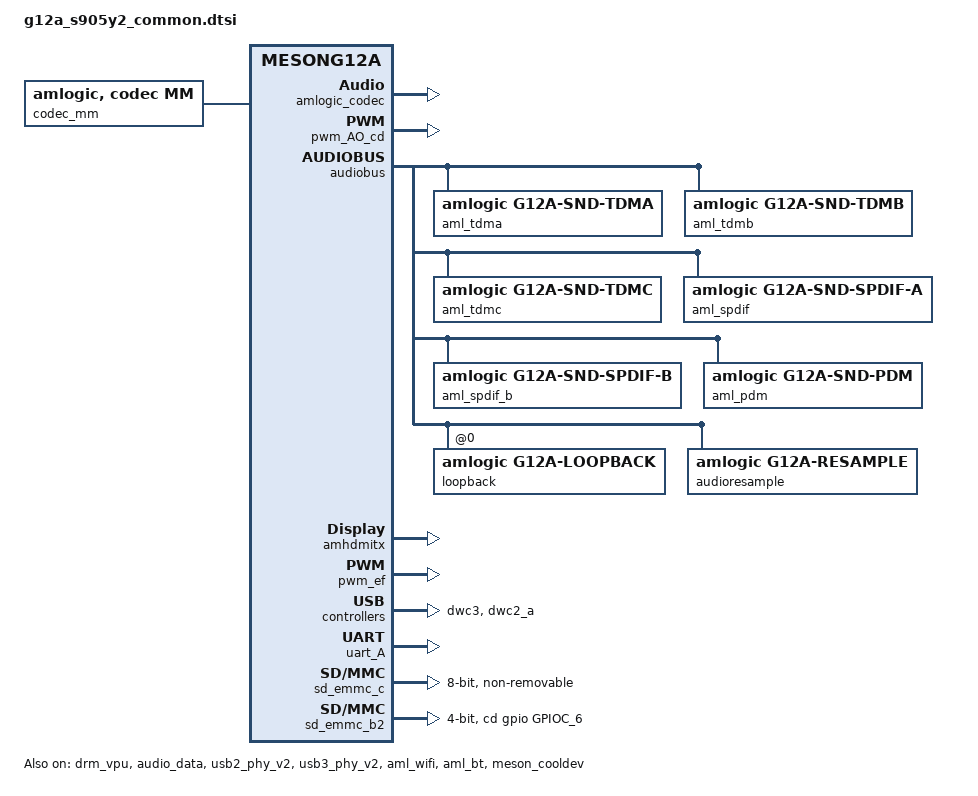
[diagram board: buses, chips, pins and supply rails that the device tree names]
// SPDX-License-Identifier: (GPL-2.0+ OR MIT)
/*
 * Amlogic S905Y2 (G12A) - common board description.
 *
 * Ported from the 4.9 kernel board file g12a_s905y2_deadpool.dts. It can't be
 * used verbatim here: the 5.15 common_drivers BSP replaced the display stack
 * (meson_fb -> DRM), the MMC bindings (amlogic,meson-mmc-g12a with sd/sdio/emmc
 * sub-nodes -> amlogic,meson-g12a-mmc with standard mmc properties), the audio
 * card compatible and the tdm pinmux group names. The 5.15 layout below follows
 * Amlogic's own G12A reference board, g12a_s905x2_u212.dts, with the ADT-3
 * specifics carried over from 4.9.
 */

#include "mesong12a.dtsi"
#include "mesong12a_drm.dtsi"
/*
 * Same non-A/B partition layout the 4.9 board file used. Byte-for-byte
 * identical to the 4.9 copy of this file, so the on-eMMC MPT written by the
 * stock u-boot keeps matching.
 */
#include "partition_mbox_dynamic_deadpool.dtsi"

/ {
	amlogic-dt-id = "g12a_s905y2_deadpool";
	compatible = "amlogic, g12a";
	interrupt-parent = <&gic>;
	#address-cells = <2>;
	#size-cells = <2>;

	aliases {
		serial0 = &uart_AO;
		serial1 = &uart_A;
		serial2 = &uart_B;
		serial3 = &uart_C;
		serial4 = &uart_AO_B;
		tsensor0 = &p_tsensor;
		tsensor1 = &d_tsensor;
		i2c0 = &i2c0;
		i2c1 = &i2c1;
		i2c2 = &i2c2;
		i2c3 = &i2c3;
		i2c4 = &i2c_AO;
		spi0 = &spicc0;
		spi1 = &spicc1;
		/*
		 * Only the eMMC gets an alias. mmc_alloc_host() uses an alias
		 * index verbatim - no ida_simple_get(), no uniqueness check - so
		 * an alias on a controller that registers more than one host
		 * makes them collide. sd_emmc_b2 is time-sharing-mult, ie it
		 * registers an SD host and an SDIO host from the one node, and
		 * both claimed mmc1: the second mmc_add_host() died with -EEXIST
		 * and the SDIO side never appeared, so the wifi part had no bus.
		 * Let everything but the eMMC auto-allocate.
		 */
		mmc0 = &sd_emmc_c;
	};

	reserved-memory {
		#address-cells = <2>;
		#size-cells = <2>;
		ranges;
		/* global autoconfigured region for contiguous allocations */
		ramoops@0x07400000 {
			compatible = "ramoops";
			reg = <0x0 0x07400000 0x0 0x00100000>;
			record-size = <0x20000>;
			console-size = <0x40000>;
			ftrace-size = <0x80000>;
			pmsg-size = <0x20000>;
		};

		dmc_reserved:linux,dmc_monitor {
			compatible = "amlogic,dmc_monitor-reserved";
			reg = <0x0 0x0 0x0 0x80000>;
		};

		debug_reserved:linux,iotrace {
			compatible = "amlogic, iotrace";
			reg = <0x0 0x04f00000 0x0 0x00100000>;
			io-size = <0x1b000>;
			sched-size = <0x2000>;
			irq-size = <0x1000>;
			smc-size = <0x1000>;
			misc-size = <0x1000>;
		};

		defendkey_reserved:linux,defendkey {
			compatible = "amlogic, defendkey";
			reg = <0x0 0x04e00000 0x0 0x100000>;
		};

		secmon_reserved:linux,secmon {
			compatible = "shared-dma-pool";
			/*reusable;*/
			no-map;
			size = <0x0 0x400000>;
			alignment = <0x0 0x400000>;
			alloc-ranges = <0x0 0x05000000 0x0 0x2400000>;
		};

		/*
		 * Static reg rather than size+alloc-ranges: u-boot hands the
		 * kernel its splash at a fixed address (logo=osd0,loaded,
		 * 0x7f800000 on the cmdline) and drm_vpu/drm_subsystem take
		 * this region as their memory-region. Letting the allocator
		 * place it elsewhere loses the hand-off.
		 */
		logo_reserved:linux,meson-fb {
			compatible = "amlogic, meson-fb";
			alignment = <0x0 0x400000>;
			reg = <0x0 0x7f800000 0x0 0x800000>;
		};

		/*
		 * The legacy ion heaps stay at size 0: gralloc allocates from
		 * the dma_buf heaps below (heap-fb / heap-gfx) and only falls
		 * back to ion when /dev/dma_heap is missing. The labels still
		 * have to exist, mesong12a.dtsi references both.
		 */
		ion_cma_reserved:linux,ion-dev {
			compatible = "shared-dma-pool";
			reusable;
			size = <0x0 0x0>;
			alignment = <0x0 0x400000>;
		};
		ion_fb_reserved:linux,ion-fb {
			compatible = "shared-dma-pool";
			reusable;
			size = <0x0 0x0>;
			alignment = <0x0 0x400000>;
		};

		dmaheap_fb_reserved:heap-fb {
			compatible = "shared-dma-pool";
			reusable;
			/* 1080p androidT size 56M */
			size = <0x0 0x3800000>;
			alignment = <0x0 0x400000>;
		};
		dmaheap_cma_reserved:heap-gfx {
			compatible = "shared-dma-pool";
			reusable;
			size = <0x0 0x5800000>;
			alignment = <0x0 0x400000>;
		};
		dmaheap_secure_reserved:heap-secure {
			compatible = "amlogic, heap-secure-mem";
			no-map;
			size = <0x0 0x0>;
			alignment = <0x0 0x400000>;
		};

		/*di CMA pool */
		di_cma_reserved:linux,di_cma {
			compatible = "shared-dma-pool";
			reusable;
			/* buffer_size = 3621952(yuv422 8bit)
			 *  | 4736064(yuv422 10bit)
			 *  | 4074560(yuv422 10bit full pack mode)
			 * 10x3621952=34.6M(0x23) support 8bit
			 * 10x4736064=45.2M(0x2e) support 12bit
			 * 10x4074560=40M(0x28) support 10bit
			 */
			//size = <0x0 0x02800000>;
			//alignment = <0x0 0x400000>;
		};

		/*  POST PROCESS MANAGER */
		ppmgr_reserved:linux,ppmgr {
			compatible = "shared-dma-pool";
			size = <0x0 0x0>;
		};

		codec_mm_cma:linux,codec_mm_cma {
			compatible = "shared-dma-pool";
			reusable;
			/*
			 * 308M, the 2GB G12A reference value. The 4.9 board
			 * file asked for 0x1b000000 (432M) here, which is a
			 * lot of the 2GB this board has; keep the smaller
			 * reference size unless 4K decode needs more.
			 */
			size = <0x0 0x13400000>;
			alignment = <0x0 0x400000>;
			linux,contiguous-region;
		};
		/* codec shared reserved */
		codec_mm_reserved:linux,codec_mm_reserved {
			compatible = "amlogic, codec-mm-reserved";
			size = <0x0 0x0>;
			alignment = <0x0 0x100000>;
			//no-map;
		};

		/*  vdin1 CMA pool */
		vdin1_cma_reserved:linux,vdin1_cma {
			compatible = "shared-dma-pool";
			reusable;
			/* up to 1920x1080 yuv422 8bit and 5 buffers
			 * 1920x1080x2x5 = 20 M
			 */
			size = <0x0 0x01400000>;
			alignment = <0x0 0x400000>;
		};
	};

	amlogic_battery:dummy-battery {
		compatible = "amlogic, dummy-battery";
		status = "disabled";
	};

	amlogic_charger:dummy-charger {
		compatible = "amlogic, dummy-charger";
		status = "disabled";
	};

	codec_mm {
		compatible = "amlogic, codec, mm";
		memory-region = <&codec_mm_cma &codec_mm_reserved>;
		dev_name = "codec_mm";
		status = "okay";
	};

	picdec {
		compatible = "amlogic, picdec";
		dev_name = "picdec";
		status = "okay";
	};

	ppmgr {
		compatible = "amlogic, ppmgr";
		memory-region = <&ppmgr_reserved>;
		dev_name = "ppmgr";
		status = "okay";
	};

	deinterlace {
		compatible = "amlogic, deinterlace";
		status = "disabled";
		/* 0:use reserved; 1:use cma; 2:use cma as reserved */
		flag_cma = <1>;
		//memory-region = <&di_reserved>;
		memory-region = <&di_cma_reserved>;
		interrupts = <0 46 1
				0 40 1>;
		interrupt-names = "pre_irq", "post_irq";
		//clocks = <&clkc CLKID_VPU_CLKB_TMP_COMP>,
		//	<&clkc CLKID_VPU_CLKB_COMP>;
		//clock-names = "vpu_clkb_tmp_composite",
		//	"vpu_clkb_composite";
		clock-range = <334 667>;
		/* buffer-size = <3621952>;(yuv422 8bit) */
		buffer-size = <4074560>;/*yuv422 fullpack*/
		/* reserve-iomap = "true"; */
		/* if enable nr10bit, set nr10bit-support to 1 */
		post-wr-support = <1>;
		nr10bit-support = <1>;
		nrds-enable = <1>;
		pps-enable = <1>;
	};

	multi-di {
		compatible = "amlogic, dim-g12a";
		status = "okay";
		/* 0:use reserved; 1:use cma; 2:use cma as reserved */
		flag_cma = <4>;	//<1>;
		//memory-region = <&di_reserved>;
		//memory-region = <&di_cma_reserved>;
		interrupts = <0 46 1
				0 40 1>;
		interrupt-names = "pre_irq", "post_irq";
		clocks = <&clkc CLKID_VPU_CLKB>,
			<&clkc CLKID_VPU>;
		clock-names = "vpu_clkb",
			"vpu_mux";
		clock-range = <334 667>;
		/* buffer-size = <3621952>;(yuv422 8bit) */
		buffer-size = <4074560>;/*yuv422 fullpack*/
		/* reserve-iomap = "true"; */
		/* if enable nr10bit, set nr10bit-support to 1 */
		post-wr-support = <1>;
		nr10bit-support = <1>;
		nrds-enable = <1>;
		pps-enable = <1>;
	};

	ionvideo {
		compatible = "amlogic, ionvideo";
		dev_name = "ionvideo";
		status = "okay";
	};

	amlvideo2_0 {
		compatible = "amlogic, amlvideo2";
		dev_name = "amlvideo2";
		status = "okay";
		amlvideo2_id = <0>;
		cma_mode = <1>;
	};

	amlvideo2_1 {
		compatible = "amlogic, amlvideo2";
		dev_name = "amlvideo2";
		status = "okay";
		amlvideo2_id = <1>;
		cma_mode = <1>;
	};

	unifykey{
		compatible = "amlogic,unifykey";
		status = "ok";
		unifykey-num = <31>;
		unifykey-index-0 = <&keysn_0>;
		unifykey-index-1 = <&keysn_1>;
		unifykey-index-2 = <&keysn_2>;
		unifykey-index-3 = <&keysn_3>;
		unifykey-index-4 = <&keysn_4>;
		unifykey-index-5 = <&keysn_5>;
		unifykey-index-6 = <&keysn_6>;
		unifykey-index-7 = <&keysn_7>;
		unifykey-index-8 = <&keysn_8>;
		unifykey-index-9 = <&keysn_9>;
		unifykey-index-10= <&keysn_10>;
		unifykey-index-11= <&keysn_11>;
		unifykey-index-12= <&keysn_12>;
		unifykey-index-13= <&keysn_13>;
		unifykey-index-14= <&keysn_14>;
		unifykey-index-15= <&keysn_15>;
		unifykey-index-16= <&keysn_16>;
		unifykey-index-17= <&keysn_17>;
		unifykey-index-18= <&keysn_18>;
		unifykey-index-19= <&keysn_19>;
		unifykey-index-20= <&keysn_20>;
		unifykey-index-21= <&keysn_21>;
		unifykey-index-22= <&keysn_22>;
		unifykey-index-23= <&keysn_23>;
		unifykey-index-24= <&keysn_24>;
		unifykey-index-25= <&keysn_25>;
		unifykey-index-26= <&keysn_26>;
		unifykey-index-27= <&keysn_27>;
		unifykey-index-28= <&keysn_28>;
		unifykey-index-29= <&keysn_29>;
		unifykey-index-30= <&keysn_30>;
		keysn_0: key_0{
			key-name = "usid";
			key-device = "normal";
			key-permit = "read","write","del";
		};
		keysn_1:key_1{
			key-name = "mac";
			key-device = "normal";
			key-permit = "read","write","del";
		};
		keysn_2:key_2{
			key-name = "hdcp";
			key-device = "secure";
			key-type = "sha1";
			key-permit = "read","write","del";
		};
		keysn_3:key_3{
			key-name = "secure_boot_set";
			key-device = "efuse";
			key-permit = "write";
		};
		keysn_4:key_4{
			key-name = "mac_bt";
			key-device = "normal";
			key-permit = "read","write","del";
			key-type  = "mac";
		};
		keysn_5:key_5{
			key-name = "mac_wifi";
			key-device = "normal";
			key-permit = "read","write","del";
			key-type = "mac";
		};
		keysn_6:key_6{
			key-name = "hdcp2_tx";
			key-device = "normal";
			key-permit = "read","write","del";
		};
		keysn_7:key_7{
			key-name = "hdcp2_rx";
			key-device = "normal";
			key-permit = "read","write","del";
		};
		keysn_8:key_8{
			key-name = "widevinekeybox";
			key-device = "secure";
			key-permit = "read","write","del";
		};
		keysn_9:key_9{
			key-name = "deviceid";
			key-device = "normal";
			key-permit = "read","write","del";
		};
		keysn_10:key_10{
			key-name = "hdcp22_fw_private";
			key-device = "secure";
			key-permit = "read","write","del";
		};
		keysn_11:key_11{
			key-name = "PlayReadykeybox25";
			key-device = "secure";
			key-permit = "read","write","del";
		};
		keysn_12:key_12{
			key-name = "prpubkeybox";// PlayReady
			key-device = "secure";
			key-permit = "read","write","del";
		};
		keysn_13:key_13{
			key-name = "prprivkeybox";// PlayReady
			key-device = "secure";
			key-permit = "read","write","del";
		};
		keysn_14:key_14{
			key-name = "attestationkeybox";// attestation key
			key-device = "secure";
			key-permit = "read","write","del";
		};
		keysn_15:key_15{
			key-name = "netflix_mgkid";
			key-device = "secure";
			key-permit = "read","write","del";
		};
		keysn_16:key_16{
			key-name = "attestationdevidbox";// attest dev id box
			key-device = "secure";
			key-permit = "read","write","del";
		};
		keysn_17:key_17{
			key-name = "oemkey";
			key-device = "normal";
			key-permit = "read","write","del";
		};
		keysn_18:key_18{
			key-name = "KEY_WIDEVINE";
			key-device = "provision";
			key-permit = "read","write","del";
		};
		keysn_19:key_19{
			key-name = "KEY_PLAYREADY_PRIVATE";
			key-device = "provision";
			key-permit = "read","write","del";
		};
		keysn_20:key_20{
			key-name = "KEY_PLAYREADY_PUBLIC";
			key-device = "provision";
			key-permit = "read","write","del";
		};
		keysn_21:key_21{
			key-name = "KEY_HDCP_TX14";
			key-device = "provision";
			key-permit = "read","write","del";
		};
		keysn_22:key_22{
			key-name = "KEY_HDCP_TX22";
			key-device = "provision";
			key-permit = "read","write","del";
		};
		keysn_23:key_23{
			key-name = "KEY_HDCP_RX14";
			key-device = "provision";
			key-permit = "read","write","del";
		};
		keysn_24:key_24{
			key-name = "KEY_HDCP_RX22";
			key-device = "provision";
			key-permit = "read","write","del";
		};
		keysn_25:key_25{
			key-name = "KEY_HDCP_RX22_FW";
			key-device = "provision";
			key-permit = "read","write","del";
		};
		keysn_26:key_26{
			key-name = "KEY_HDCP_RX22_FW_PRIVATE";
			key-device = "provision";
			key-permit = "read","write","del";
		};
		keysn_27:key_27{
			key-name = "KEY_KEYMASTER3";
			key-device = "provision";
			key-permit = "read","write","del";
		};
		keysn_28:key_28{
			key-name = "PROVISION_FIELD_ID";
			key-device = "provision";
			key-permit = "read","write","del";
		};
		keysn_29:key_29{
			key-name = "PROVISION_FIELD_PROTECT_KEY";
			key-device = "provision";
			key-permit = "read","write","del";
		};
		keysn_30:key_30{
			key-name = "KEY_KM3_ATTEST_DEV_ID_BOX";
			key-device = "provision";
			key-permit = "read","write","del";
		};
	};//End unifykey

	efusekey:efusekey{
		keynum = <4>;
		key0 = <&key_0>;
		key1 = <&key_1>;
		key2 = <&key_2>;
		key3 = <&key_3>;
		key_0:key_0{
			keyname = "mac";
			offset = <0>;
			size = <6>;
		};
		key_1:key_1{
			keyname = "mac_bt";
			offset = <6>;
			size = <6>;
		};
		key_2:key_2{
			keyname = "mac_wifi";
			offset = <12>;
			size = <6>;
		};
		key_3:key_3{
			keyname = "usid";
			offset = <18>;
			size = <16>;
		};
	};//End efusekey

	amlvecm {
		compatible = "amlogic, vecm";
		dev_name = "aml_vecm";
		status = "okay";
		gamma_en = <0>;/*1:enable ;0:disable*/
		wb_en = <0>;/*1:enable ;0:disable*/
		cm_en = <0>;/*1:enable ;0:disable*/
		/*0: 709/601  1: bt2020*/
		tx_op_color_primary = <0>;
	};

	amdolby_vision {
		compatible = "amlogic, dolby_vision_g12a";
		dev_name = "aml_amdolby_vision_driver";
		status = "okay";
		tv_mode = <0>;/*1:enable ;0:disable*/
	};

	/* Audio Related start */
	/*
	 * No pdm_codec node here on purpose. The G12A reference dts declares
	 * one with compatible "amlogic, pdm_dummy_codec", but nothing in this
	 * BSP binds that string - dummy_codec.c only matches
	 * "amlogic, aml_dummy_codec". A codec whose component never registers
	 * makes snd_soc_of_get_dai_name() return -EPROBE_DEFER forever, and
	 * one dead dai-link defers the whole auge_sound card, taking HDMI
	 * audio down with it (see the kvim3 alsaPORT-pdm fix). The pdm link
	 * below uses dummy_codec, as the actively built boards
	 * (s4_s905y4_ap222, kvim1s) do.
	 */
	dummy_codec:dummy{
		#sound-dai-cells = <0>;
		compatible = "amlogic, aml_dummy_codec";
		status = "okay";
	};
	amlogic_codec:t9015{
		#sound-dai-cells = <0>;
		compatible = "amlogic, aml_codec_T9015";
		reg = <0x0 0xFF632000 0x0 0x2000>;
		is_auge_used = <1>; /* meson or auge chipset used */
		tdmout_index = <1>;
		status = "okay";
	};
	audio_effect:eqdrc{
		/*eq_enable = <1>;*/
		/*drc_enable = <1>;*/
		/*
		 * 0:tdmout_a
		 * 1:tdmout_b
		 * 2:tdmout_c
		 * 3:spdifout
		 * 4:spdifout_b
		 */
		eqdrc_module = <1>;
		/* max 0xf, each bit for one lane, usually one lane */
		lane_mask = <0x1>;
		/* max 0xff, each bit for one channel */
		channel_mask = <0x3>;
	};
	auge_sound {
		compatible = "amlogic, auge-sound-card";
		aml-audio-card,name = "AML-AUGESOUND";

		aml-audio-card,aux-devs = <&amlogic_codec>;
		/*for audio effect ,eqdrc */
		aml-audio-card,effect = <&audio_effect>;

		aml-audio-card,dai-link@0 {
			format = "dsp_a";
			mclk-fs = <512>;
			//continuous-clock;
			//bitclock-inversion;
			//frame-inversion;
			//bitclock-master = <&tdmacodec>;
			//frame-master = <&tdmacodec>;
			/* suffix-name, sync with android audio hal
			 * what's the dai link used for
			 */
			suffix-name = "alsaPORT-pcm";
			tdmacpu: cpu {
				sound-dai = <&aml_tdma>;
				dai-tdm-slot-tx-mask =
							<1 1 1 1 1 1 1 1>;
				dai-tdm-slot-rx-mask =
							<1 1 1 1 1 1 1 1>;
				dai-tdm-slot-num = <8>;
				dai-tdm-slot-width = <32>;
				system-clock-frequency = <24576000>;
			};
			tdmacodec: codec {
				sound-dai = <&dummy_codec &dummy_codec>;
			};
		};

		aml-audio-card,dai-link@1 {
			format = "i2s";// "dsp_a";
			mclk-fs = <256>;
			//continuous-clock;
			//bitclock-inversion;
			//frame-inversion;
			bitclock-master = <&aml_tdmb>;
			frame-master = <&aml_tdmb>;
			//bitclock-master = <&tdmbcodec>;
			//frame-master = <&tdmbcodec>;
			/* suffix-name, sync with android audio hal
			 * what's the dai link used for
			 */
			suffix-name = "alsaPORT-i2s";
			cpu {
				sound-dai = <&aml_tdmb>;
				dai-tdm-slot-tx-mask = <1 1>;
				dai-tdm-slot-rx-mask = <1 1>;
				dai-tdm-slot-num = <2>;
				/*
				 * dai-tdm-slot-tx-mask =
				 *	<1 1 1 1 1 1 1 1>;
				 * dai-tdm-slot-rx-mask =
				 *	<1 1 1 1 1 1 1 1>;
				 * dai-tdm-slot-num = <8>;
				 */
				dai-tdm-slot-width = <32>;
				system-clock-frequency = <12288000>;
			};
			tdmbcodec: codec {
				sound-dai = <&dummy_codec &dummy_codec
					&amlogic_codec>;
			};
		};

		aml-audio-card,dai-link@2 {
			format = "i2s";
			mclk-fs = <256>;
			//continuous-clock;
			//bitclock-inversion;
			//frame-inversion;
			bitclock-master = <&aml_tdmc>;
			frame-master = <&aml_tdmc>;
			/* suffix-name, sync with android audio hal
			 * what's the dai link used for
			 */
			//suffix-name = "alsaPORT-tdm";
			cpu {
				sound-dai = <&aml_tdmc>;
				dai-tdm-slot-tx-mask = <1 1>;
				dai-tdm-slot-rx-mask = <1 1>;
				dai-tdm-slot-num = <2>;
				dai-tdm-slot-width = <32>;
				system-clock-frequency = <12288000>;
			};
			codec {
				sound-dai = <&dummy_codec &dummy_codec>;
			};
		};

		aml-audio-card,dai-link@3 {
			mclk-fs = <64>;
			/* suffix-name, sync with android audio hal
			 * what's the dai link used for
			 */
			suffix-name = "alsaPORT-pdm";
			cpu {
				sound-dai = <&aml_pdm>;
			};
			codec {
				sound-dai = <&dummy_codec>;
			};
		};

		aml-audio-card,dai-link@4 {
			mclk-fs = <128>;
			continuous-clock;
			/* suffix-name, sync with android audio hal
			 * what's the dai link used for
			 */
			suffix-name = "alsaPORT-spdif";
			cpu {
				sound-dai = <&aml_spdif>;
				system-clock-frequency = <6144000>;
			};
			codec {
				sound-dai = <&dummy_codec>;
			};
		};
		/* spdif_b to hdmi, only playback */
		aml-audio-card,dai-link@5 {
			mclk-fs = <128>;
			continuous-clock;
			/* suffix-name, sync with android audio hal
			 * what's the dai link used for
			 */
			suffix-name = "alsaPORT-spdifb";
			cpu {
				sound-dai = <&aml_spdif_b>;
				system-clock-frequency = <6144000>;
			};
			codec {
				sound-dai = <&dummy_codec>;
			};
		};

		aml-audio-card,dai-link@6 {
			mclk-fs = <256>;
			continuous-clock;
			suffix-name = "alsaPORT-loopback";
			cpu {
				sound-dai = <&loopback>;
				system-clock-frequency = <12288000>;
			};
			codec {
				sound-dai = <&dummy_codec>;
			};
		};

		/*
		 * dai link for i2s to hdmix,
		 * Notice to select a tdm lane not used by hw
		 */
		/*
		 * aml-audio-card,dai-link@6 {
		 * format = "i2s";
		 * mclk-fs = <256>;
		 * //continuous-clock;
		 * //bitclock-inversion;
		 * //frame-inversion;
		 * bitclock-master = <&aml_i2s2hdmi>;
		 * frame-master = <&aml_i2s2hdmi>;
		 * suffix-name = "alsaPORT-i2s2hdmi";
		 * cpu {
		 * sound-dai = <&aml_i2s2hdmi>;
		 * dai-tdm-slot-tx-mask = <1 1>;
		 * dai-tdm-slot-num = <2>;
		 * dai-tdm-slot-width = <32>;
		 * system-clock-frequency = <12288000>;
		 * };
		 * codec {
		 * sound-dai = <&dummy_codec>;
		 * };
		 * };
		 */
	};
	audiolocker: locker {
		compatible = "amlogic, audiolocker";
		clocks = <&clkaudio CLKID_AUDIO_LOCKER_OUT
				&clkaudio CLKID_AUDIO_LOCKER_IN
				&clkaudio CLKID_AUDIO_MCLK_D
				&clkaudio CLKID_AUDIO_MCLK_E
				&clkc CLKID_MPLL1
				&clkc CLKID_MPLL2>;
		clock-names = "lock_out", "lock_in", "out_src",
					"in_src", "out_calc", "in_ref";
		interrupts = <GIC_SPI 1 IRQ_TYPE_EDGE_RISING>;
		interrupt-names = "irq";
		frequency = <49000000>; /* pll */
		dividor = <49>; /* locker's parent */
		status = "okay";
	};
	/* Audio Related end */
}; /* end of / */

&fb {
	status = "disabled";
	display_size_default = <1920 1080 1920 2160 32>;
	mem_size = <0x00800000 0x1980000 0x100000 0x100000 0x800000>;
	logo_addr = "0x7f800000";
	mem_alloc = <0>;
	pxp_mode = <0>; /** 0:normal mode 1:pxp mode */
};

/*
 * PWM_AO_D drives the VDDCPU rail through the vddcpu0 pwm-regulator in
 * mesong12a.dtsi, which every cpu node references as cpu-supply. Nothing in
 * the dtsi claims the pad, so without this the regulator writes duty cycles
 * that never reach GPIOE_1 and CPU DVFS silently does nothing - it only
 * appears to work because u-boot leaves the mux set. The 4.9 board file
 * claimed the same group from its cpufreq-meson node.
 */
&pwm_AO_cd {
	status = "okay";
	pinctrl-names = "default";
	pinctrl-0 = <&pwm_ao_d_pins3>;
};

&audiobus {
	aml_tdma: tdma {
		compatible = "amlogic, g12a-snd-tdma";
		#sound-dai-cells = <0>;
		dai-tdm-lane-slot-mask-in = <0 1>;
		dai-tdm-oe-lane-slot-mask-out = <1 0>;
		dai-tdm-clk-sel = <0>;
		clocks = <&clkaudio CLKID_AUDIO_MCLK_A
				&clkc CLKID_MPLL0>;
		clock-names = "mclk", "clk_srcpll";
		pinctrl-names = "tdm_pins";
		pinctrl-0 = <&tdmout_a &tdmin_a>;
	};

	aml_tdmb: tdmb {
		compatible = "amlogic, g12a-snd-tdmb";
		#sound-dai-cells = <0>;
		dai-tdm-lane-slot-mask-in = <0 1 0 0>;
		dai-tdm-lane-slot-mask-out = <1 0 0 0>;
		dai-tdm-clk-sel = <1>;
		clocks = <&clkaudio CLKID_AUDIO_MCLK_B
				&clkc CLKID_MPLL1
				&clkc CLKID_MPLL0
				&clkaudio CLKID_AUDIO_SPDIFOUT_CTRL>;
		clock-names = "mclk", "clk_srcpll",
			"samesource_srcpll", "samesource_clk";
		pinctrl-names = "tdm_pins";
		pinctrl-0 = <&tdmb_mclk &tdmout_b &tdmin_b>;
		mclk_pad = <0>;  /* 0: mclk_0; 1: mclk_1 */
		/*
		 * 0: tdmout_a;
		 * 1: tdmout_b;
		 * 2: tdmout_c;
		 * 3: spdifout;
		 * 4: spdifout_b;
		 */
		samesource_sel = <3>;
		/*enable default mclk(12.288M), before extern codec start*/
		start_clk_enable = <1>;

		/*tdm clk tuning enable*/
		clk_tuning_enable = <1>;
	};

	aml_tdmc: tdmc {
		compatible = "amlogic, g12a-snd-tdmc";
		#sound-dai-cells = <0>;
		dai-tdm-lane-slot-mask-in = <0 1 0 0>;
		#dai-tdm-lane-slot-mask-out = <1 0 1 1>;
		#dai-tdm-lane-oe-slot-mask-in = <0 0 0 0>;
		dai-tdm-lane-oe-slot-mask-out = <1 0 0 0>;
		dai-tdm-clk-sel = <2>;
		clocks = <&clkaudio CLKID_AUDIO_MCLK_C
				&clkc CLKID_MPLL2>;
		clock-names = "mclk", "clk_srcpll";
		pinctrl-names = "tdm_pins";
		pinctrl-0 = <&tdmc_mclk &tdmout_c &tdmin_c>;
		mclk_pad = <1>;  /* 0: mclk_0; 1: mclk_1 */
	};

	tdmlb: tdm@3 {
		compatible = "amlogic, g12a-snd-tdmlb";
		#sound-dai-cells = <0>;
		dai-tdm-lane-lb-slot-mask-in = <1 0 0 0>;
		dai-tdm-clk-sel = <1>;
		clocks = <&clkaudio CLKID_AUDIO_MCLK_B
				&clkc CLKID_MPLL1>;
		clock-names = "mclk", "clk_srcpll";
		/*
		 * select tdmin_lb src;
		 *0: TDMOUTA
		 *1: TDMOUTB
		 *2: TDMOUTC
		 *3: PAD_TDMINA
		 *4: PAD_TDMINB
		 *5: PAD_TDMINC
		 */
		lb-src-sel = <1>;

		status = "disabled";
	};

	/* copy a useless tdm to output for hdmi, no pinmux */
	aml_i2s2hdmi: i2s2hdmi {
		compatible = "amlogic, g12a-snd-tdmc";
		#sound-dai-cells = <0>;
		dai-tdm-lane-slot-mask-out = <1 1 1 1>;
		dai-tdm-clk-sel = <2>;
		clocks = <&clkaudio CLKID_AUDIO_MCLK_C
				&clkc CLKID_MPLL2>;
		clock-names = "mclk", "clk_srcpll";

		i2s2hdmi = <1>;

		status = "disabled";
	};

	aml_spdif: spdif {
		compatible = "amlogic, g12a-snd-spdif-a";
		#sound-dai-cells = <0>;
		clocks = <&clkc CLKID_MPLL0
				&clkc CLKID_FCLK_DIV4
				&clkaudio CLKID_AUDIO_SPDIFIN
				&clkaudio CLKID_AUDIO_SPDIFOUT
				&clkaudio CLKID_AUDIO_SPDIFIN_CTRL
				&clkaudio CLKID_AUDIO_SPDIFOUT_CTRL>;
		clock-names = "sysclk", "fixed_clk", "gate_spdifin",
				"gate_spdifout", "clk_spdifin", "clk_spdifout";
		interrupts =
				<GIC_SPI 151 IRQ_TYPE_EDGE_RISING>;

		interrupt-names = "irq_spdifin";
		pinctrl-names = "spdif_pins",
				"spdif_pins_mute";
		pinctrl-0 = <&spdifout>;
		pinctrl-1 = <&spdifout_a_mute>;
		status = "okay";
		/*spdif clk tuning enable*/
		clk_tuning_enable = <1>;
	};
	aml_spdif_b: spdif_b {
		compatible = "amlogic, g12a-snd-spdif-b";
		#sound-dai-cells = <0>;
		clocks = <&clkc CLKID_MPLL0 /*CLKID_HIFI_PLL*/
				&clkaudio CLKID_AUDIO_SPDIFOUTB
				&clkaudio CLKID_AUDIO_SPDIFOUTB_CTRL>;
		clock-names = "sysclk",
				"gate_spdifout", "clk_spdifout";
		status = "okay";
	};
	aml_pdm: pdm {
		compatible = "amlogic, g12a-snd-pdm";
		#sound-dai-cells = <0>;
		clocks = <&clkaudio CLKID_AUDIO_PDM
			&clkc CLKID_FCLK_DIV3
			&clkc CLKID_MPLL3
			&clkaudio CLKID_AUDIO_PDMIN0
			&clkaudio CLKID_AUDIO_PDMIN1>;
		clock-names = "gate",
			"sysclk_srcpll",
			"dclk_srcpll",
			"pdm_dclk",
			"pdm_sysclk";
		pinctrl-names = "pdm_pins";
		pinctrl-0 = <&pdmin>;
		filter_mode = <1>; /* mode 0~4, defalut:1 */
		status = "okay";
	};

	loopback:loopback@0 {
		compatible = "amlogic, g12a-loopback";
		#sound-dai-cells = <0>;

		clocks = <&clkaudio CLKID_AUDIO_PDM
			&clkc CLKID_FCLK_DIV3
			&clkc CLKID_MPLL3
			&clkaudio CLKID_AUDIO_PDMIN0
			&clkaudio CLKID_AUDIO_PDMIN1
			&clkc CLKID_MPLL0
			&clkaudio CLKID_AUDIO_MCLK_A>;
		clock-names = "pdm_gate",
			"pdm_sysclk_srcpll",
			"pdm_dclk_srcpll",
			"pdm_dclk",
			"pdm_sysclk",
			"tdminlb_mpll",
			"tdminlb_mclk";

		/* datain src
		 * 0: tdmin_a;
		 * 1: tdmin_b;
		 * 2: tdmin_c;
		 * 3: spdifin;
		 * 4: pdmin;
		 */
		datain_src = <4>;
		datain_chnum = <4>;
		datain_chmask = <0xf>;
		/* config which data pin for loopback */
		datain-lane-mask-in = <1 0 1 0>;

		/* calc mclk for datalb */
		mclk-fs = <256>;

		/* tdmin_lb src
		 * 0: tdmoutA
		 * 1: tdmoutB
		 * 2: tdmoutC
		 * 3: PAD_TDMINA_DIN*, refer to core pinmux
		 * 4: PAD_TDMINB_DIN*, refer to core pinmux
		 * 5: PAD_TDMINC_DIN*, refer to core pinmux
		 * 6: PAD_TDMINA_D*, oe, refer to core pinmux
		 * 7: PAD_TDMINB_D*, oe, refer to core pinmux
		 */
		/* if tdmin_lb >= 3, use external loopback */
		datalb_src = <1>;
		datalb_chnum = <2>;
		datalb_chmask = <0x3>;
		/* config which data pin as loopback */
		datalb-lane-mask-in = <1 0 0 0>;

		status = "okay";
	};

	audioresample: resample {
		compatible = "amlogic, g12a-resample";
		clocks = <&clkc CLKID_MPLL3
				&clkaudio CLKID_AUDIO_MCLK_F
				&clkaudio CLKID_AUDIO_RESAMPLE_CTRL>;
		clock-names = "resample_pll", "resample_src", "resample_clk";
		/*same with toddr_src
		 *	TDMIN_A, 0
		 *	TDMIN_B, 1
		 *	TDMIN_C, 2
		 *	SPDIFIN, 3
		 *	PDMIN,  4
		 *	NONE,
		 *	TDMIN_LB, 6
		 *	LOOPBACK, 7
		 */
		resample_module = <4>;
		status = "okay";
	};
	aml_pwrdet: pwrdet {
		compatible = "amlogic, g12a-power-detect";

		interrupts = <GIC_SPI 155 IRQ_TYPE_EDGE_RISING>;
		interrupt-names = "pwrdet_irq";

		/* pwrdet source sel
		 * 7: loopback;
		 * 6: tdmin_lb;
		 * 5: reserved;
		 * 4: pdmin;
		 * 3: spdifin;
		 * 2: tdmin_c;
		 * 1: tdmin_b;
		 * 0: tdmin_a;
		 */
		pwrdet_src = <4>;

		hi_th = <0x70000>;
		lo_th = <0x16000>;

		status = "disabled";
	};
}; /* end of audiobus */

&pinctrl_periphs {
	tdmout_a: tdmout_a {
		mux { /* GPIOX_11, GPIOX_10, GPIOX_9 */
			groups = "tdm_a_sclk",
				"tdm_a_fs",
				"tdm_a_dout0";
			function = "tdm_a";
		};
	};

	tdmin_a: tdmin_a {
		mux { /* GPIOX_8 */
			groups = "tdm_a_din1";
			function = "tdm_a";
		};
	};

	tdmb_mclk: tdmb_mclk {
		mux {
			groups = "mclk0_a";
			function = "mclk0";
			drive-strength = <2>;
		};
	};
	tdmout_b: tdmout_b {
		mux { /* GPIOA_1, GPIOA_2, GPIOA_3 */
			groups = "tdm_b_sclk",
				"tdm_b_fs",
				"tdm_b_dout0";
			function = "tdm_b";
			drive-strength = <2>;
		};
	};

	tdmin_b:tdmin_b {
		mux { /* GPIOA_4 */
			groups = "tdm_b_din1"
				/*,"tdmb_slv_sclk", "tdmb_slv_fs"*/;
			function = "tdm_b";
			drive-strength = <2>;
		};
	};

	tdmc_mclk: tdmc_mclk {
		mux { /* GPIOA_11 */
			groups = "mclk1_a";
			function = "mclk1";
		};
	};

	tdmout_c:tdmout_c {
		mux { /* GPIOA_12, GPIOA_13, GPIOA_10, GPIOA_8, GPIOA_7*/
			groups = "tdm_c_sclk_a",
				"tdm_c_fs_a",
				"tdm_c_dout0_a"
				/*,	"tdmc_dout2",
				 * "tdmc_dout3"
				 */;
			function = "tdm_c";
		};
	};

	tdmin_c:tdmin_c {
		mux { /* GPIOA_9 */
			groups = "tdm_c_din1_a";
			function = "tdm_c";
		};
	};

	spdifin: spdifin {
		mux {/* GPIOH_5 */
			groups = "spdif_in_h";
			function = "spdif_in";
		};
	};

	/* GPIOH_4 */
	spdifout: spdifout {
		mux {
			groups = "spdif_out_h";
			function = "spdif_out";
		};
	};

	spdifout_a_mute: spdifout_a_mute {
		mux { /* GPIOH_4 */
			groups = "GPIOH_4";
			function = "gpio_periphs";
		};
	};

	pdmin: pdmin {
		mux { /* gpioa_5, gpioa_6, gpioa_7, gpioa_8, gpioa_9*/
			groups = "pdm_din0_a",
			/*"pdm_din1_a",*/
			"pdm_din2_a",
			/*"pdm_din3_a",*/
			"pdm_dclk_a";
			function = "pdm";
		};
	};

};/* end of pinctrl_periphs */

&amhdmitx {
	status = "okay";
};

&drm_vpu {
	status = "okay";
	logo_addr = "0x7f800000";
};

/* No composite video pads are brought out. */
&drm_amcvbsout {
	status = "disabled";
};

&audio_data {
	status = "okay";
};

/* Audio Related End */

&pwm_ef {
	status = "okay";
};

/*
 * USB. Values carried over from the 4.9 board file:
 *  - usb2_phy_v2 portnum = 2, both USB2 ports are wired.
 *  - usb3_phy_v2 portnum = 0 (no USB3 host port), otg = 1: the USB3 phy is
 *    only used for OTG role detection on the power/OTG Type-C connector.
 *  - dwc2_a controller-type = 3, the mode the 4.9 build boots with.
 */
&dwc3 {
	status = "okay";
};

&usb2_phy_v2 {
	status = "okay";
	portnum = <2>;
};

&usb3_phy_v2 {
	status = "okay";
	portnum = <0>;
	otg = <1>;
	gpio-vbus-power = "GPIOH_6";
	gpios = <&gpio GPIOH_6 GPIO_ACTIVE_HIGH>;
};

&dwc2_a {
	status = "okay";
	/** 0: normal, 1: otg+dwc3 host only, 2: otg+dwc3 device only*/
	controller-type = <3>;
};

/* S905Y2 brings out no ethernet, and the board has no MAC/PHY. */
&ethmac {
	status = "disabled";
};

&uart_A {
	status = "okay";
};

/*if you want to use vdin just modify status to "ok"*/
&vdin0 {
	/*memory-region = <&vdin0_cma_reserved>;*/
	status = "disabled";
	/* up to 1920x1080 yuv422 8bit and 5 buffers
	 * 1920x1080x2x5 = 20 M
	 */
	cma_size = <20>;
	/*vdin write mem color depth support:
	 *bit0:support 8bit
	 *bit1:support 9bit
	 *bit2:support 10bit
	 *bit3:support 12bit
	 *bit4:support yuv422 10bit full pack mode (from txl new add)
	 */
	tv_bit_mode = <0x1>;
};

&vdin1 {
	memory-region = <&vdin1_cma_reserved>;
	status = "disabled";
	/*vdin write mem color depth support:
	 *bit0:support 8bit
	 *bit1:support 9bit
	 *bit2:support 10bit
	 *bit3:support 12bit
	 */
	tv_bit_mode = <1>;
};

/* eMMC */
&sd_emmc_c {
	status = "okay";
	pinctrl-0 = <&emmc_pins>, <&emmc_ds_pins>;
	pinctrl-1 = <&emmc_clk_gate_pins>;
	pinctrl-names = "default", "clk-gate";

	bus-width = <8>;
	cap-mmc-highspeed;
	mmc-ddr-1_8v;
	mmc-hs200-1_8v;
	max-frequency = <200000000>;
	non-removable;
	disable-wp;

//	mmc-pwrseq = <&emmc_pwrseq>;
//	vmmc-supply = <&vddao_3v3>;
//	vqmmc-supply = <&vddao_1v8>;
};

/*
 * microSD and the SDIO wifi share this controller: time-sharing-mult in
 * mesong12a.dtsi makes meson-g12a-mmc.c register two hosts from the one node
 * and swap the pinmux between the sdcard_*_c pads on GPIOC and the SDIO pads
 * on GPIOX. The GPIOX routing is switched by the "sdio_dummy" group (virtual
 * pin GPIOV_0), which only exists with the "G12a: enable emmc/sdcard/sdio"
 * pinctrl commit - without it the wifi never enumerates.
 *
 * All three of no-sdio/no-mmc/no-sd are correct - tdma_of_parse() clears the
 * relevant one per instance.
 */
&sd_emmc_b2 {
	status = "okay";
	bus-width = <4>;
	cap-sd-highspeed;
	sd-uhs-sdr104;
	max-frequency = <200000000>;
	disable-wp;

	pinctrl-0 = <&sdio_x_clr_pins &sdcard_pins>;
	pinctrl-1 = <&sdio_x_clr_pins &sdcard_clk_gate_pins>;
	pinctrl-2 = <&sdio_x_clr_pins &sd_1bit_pins>;
	pinctrl-3 = <&sd_clr_all_pins>, <&sdio_x_en_pins>, <&sdio_pins>;
	pinctrl-4 = <&sd_clr_all_pins>, <&sdio_x_en_pins>, <&sdio_clk_gate_pins>;
	pinctrl-names = "sd_default",
			"sd_clk-gate",
			"sd_1bit_pins",
			"default",
			"sdio_clk-gate";

	cd-gpios = <&gpio GPIOC_6 GPIO_ACTIVE_HIGH>;

	/* both applied to the SDIO instance only, by tdma_of_parse() */
	cap-sdio-irq;
	keep-power-in-suspend;

	no-sdio;
	no-mmc;
	no-sd;
};

/*
 * AP6212A / bcm43456 combo. Same control pins as the G12A reference and as
 * the 4.9 board file: wifi power-enable on GPIOX_6, out-of-band irq on
 * GPIOX_7, bluetooth reset on GPIOX_17 and host-wake on GPIOX_19. The
 * 32.768kHz reference comes from PWM_E via wifi_pwm_conf in mesong12a.dtsi,
 * and irq_trigger_type there is already IRQF_TRIGGER_LOW, which is what the
 * 4.9 file had to override the reference board to.
 */
&aml_wifi{
	status = "okay";
	interrupt-gpios = <&gpio  GPIOX_7  GPIO_ACTIVE_HIGH>;
	power_on-gpios = <&gpio   GPIOX_6  GPIO_ACTIVE_HIGH>;
};

&aml_bt {
	status = "okay";
	reset-gpios = <&gpio    GPIOX_17 GPIO_ACTIVE_HIGH>;
	hostwake-gpios = <&gpio GPIOX_19 GPIO_ACTIVE_HIGH>;
};

/*
 * S905Y2 has no PCIe pads bonded out and the board has no slot. Left at the
 * mesong12a.dtsi default (disabled); note the reference board's reset-gpio
 * for this node is GPIOX_7, which is the wifi irq here.
 */
&meson_cooldev {
	status = "okay";
};
